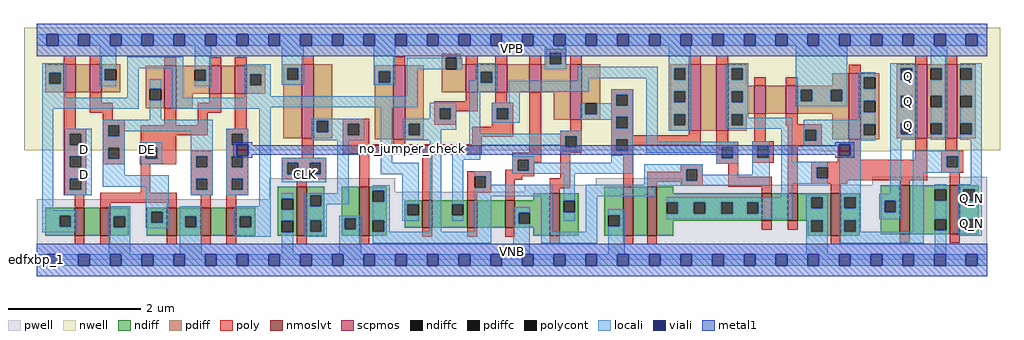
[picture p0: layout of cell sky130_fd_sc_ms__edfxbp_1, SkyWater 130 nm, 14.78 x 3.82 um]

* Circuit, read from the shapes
.subckt sky130_fd_sc_ms__edfxbp_1 CLK D DE VGND VNB VPB VPWR Q Q_N
XM1 n1 D n2 VNB sky130_fd_pr__nfet_01v8_lvt w=0.42 l=0.15
XM2 VGND DE n1 VNB sky130_fd_pr__nfet_01v8_lvt w=0.42 l=0.15
XM3 VGND DE n3 VNB sky130_fd_pr__nfet_01v8_lvt w=0.42 l=0.15
XM4 n4 n3 VGND VNB sky130_fd_pr__nfet_01v8_lvt w=0.42 l=0.15
XM5 n2 n5 n4 VNB sky130_fd_pr__nfet_01v8_lvt w=0.42 l=0.15
XM6 n6 CLK VGND VNB sky130_fd_pr__nfet_01v8_lvt w=0.74 l=0.15
XM7 n7 n6 VGND VNB sky130_fd_pr__nfet_01v8_lvt w=0.74 l=0.15
XM8 n8 n6 n2 VNB sky130_fd_pr__nfet_01v8_lvt w=0.42 l=0.15
XM9 n9 n7 n8 VNB sky130_fd_pr__nfet_01v8_lvt w=0.42 l=0.15
XM10 VGND n10 n9 VNB sky130_fd_pr__nfet_01v8_lvt w=0.42 l=0.15
XM11 n10 n8 VGND VNB sky130_fd_pr__nfet_01v8_lvt w=0.64 l=0.15
XM12 n11 n10 VGND VNB sky130_fd_pr__nfet_01v8_lvt w=0.74 l=0.15
XM13 n12 n7 n11 VNB sky130_fd_pr__nfet_01v8_lvt w=0.74 l=0.15
XM14 n13 n6 n12 VNB sky130_fd_pr__nfet_01v8_lvt w=0.42 l=0.15
XM15 VGND n5 n13 VNB sky130_fd_pr__nfet_01v8_lvt w=0.42 l=0.15
XM16 n5 n12 VGND VNB sky130_fd_pr__nfet_01v8_lvt w=0.64 l=0.15
XM17 VGND n12 Q VNB sky130_fd_pr__nfet_01v8_lvt w=0.74 l=0.15
XM18 Q_N n5 VGND VNB sky130_fd_pr__nfet_01v8_lvt w=0.74 l=0.15
XM19 n14 D n2 VPB sky130_fd_pr__pfet_01v8 w=0.42 l=0.18
XM20 VPWR n3 n14 VPB sky130_fd_pr__pfet_01v8 w=0.42 l=0.18
XM21 VPWR DE n3 VPB sky130_fd_pr__pfet_01v8 w=0.64 l=0.18
XM22 n15 DE VPWR VPB sky130_fd_pr__pfet_01v8 w=0.42 l=0.18
XM23 n2 n5 n15 VPB sky130_fd_pr__pfet_01v8 w=0.42 l=0.18
XM24 n6 CLK VPWR VPB sky130_fd_pr__pfet_01v8 w=1.12 l=0.18
XM25 n7 n6 VPWR VPB sky130_fd_pr__pfet_01v8 w=1.12 l=0.18
XM26 n8 n7 n2 VPB sky130_fd_pr__pfet_01v8 w=0.42 l=0.18
XM27 n16 n6 n8 VPB sky130_fd_pr__pfet_01v8 w=0.42 l=0.18
XM28 VPWR n10 n16 VPB sky130_fd_pr__pfet_01v8 w=0.42 l=0.18
XM29 n10 n8 VPWR VPB sky130_fd_pr__pfet_01v8 w=0.84 l=0.18
XM30 n17 n10 VPWR VPB sky130_fd_pr__pfet_01v8 w=1 l=0.18
XM31 n12 n6 n17 VPB sky130_fd_pr__pfet_01v8 w=1 l=0.18
XM32 n18 n7 n12 VPB sky130_fd_pr__pfet_01v8 w=0.42 l=0.18
XM33 VPWR n5 n18 VPB sky130_fd_pr__pfet_01v8 w=0.42 l=0.18
XM34 n5 n12 VPWR VPB sky130_fd_pr__pfet_01v8 w=1 l=0.18
XM35 VPWR n12 Q VPB sky130_fd_pr__pfet_01v8 w=1.12 l=0.18
XM36 Q_N n5 VPWR VPB sky130_fd_pr__pfet_01v8 w=1.12 l=0.18
.ends

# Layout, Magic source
magic
tech sky130A
magscale 1 2
<< nwell >>
rect -38 332 2918 704
rect 989 330 1209 332
rect 2374 329 2588 332
<< pwell >>
rect 705 207 1087 248
rect 1694 228 1955 248
rect 2531 228 2879 252
rect 1479 207 2879 228
rect 705 184 2879 207
rect 1 49 2879 184
rect 0 0 2880 49
<< scpmos >>
rect 83 508 119 592
rect 161 508 197 592
rect 387 460 423 588
rect 523 504 559 588
rect 601 504 637 588
rect 803 368 839 592
rect 1081 366 1117 590
rect 1300 508 1336 592
rect 1390 508 1426 592
rect 1492 508 1528 592
rect 1616 424 1652 592
rect 1975 392 2011 592
rect 2059 392 2095 592
rect 2173 443 2209 527
rect 2269 443 2305 527
rect 2460 365 2496 565
rect 2662 368 2698 592
rect 2752 368 2788 592
<< nmoslvt >>
rect 115 74 145 158
rect 193 74 223 158
rect 395 74 425 158
rect 497 74 527 158
rect 575 74 605 158
rect 788 74 818 222
rect 978 74 1008 222
rect 1168 97 1198 181
rect 1304 97 1334 181
rect 1419 97 1449 181
rect 1555 74 1585 202
rect 1777 74 1807 222
rect 1849 74 1879 222
rect 2197 118 2227 202
rect 2275 118 2305 202
rect 2406 74 2436 202
rect 2614 78 2644 226
rect 2766 78 2796 226
<< ndiff >>
rect 731 186 788 222
rect 27 134 115 158
rect 27 100 70 134
rect 104 100 115 134
rect 27 74 115 100
rect 145 74 193 158
rect 223 133 280 158
rect 223 99 234 133
rect 268 99 280 133
rect 223 74 280 99
rect 334 146 395 158
rect 334 112 348 146
rect 382 112 395 146
rect 334 74 395 112
rect 425 133 497 158
rect 425 99 450 133
rect 484 99 497 133
rect 425 74 497 99
rect 527 74 575 158
rect 605 133 662 158
rect 605 99 616 133
rect 650 99 662 133
rect 605 74 662 99
rect 731 152 743 186
rect 777 152 788 186
rect 731 118 788 152
rect 731 84 743 118
rect 777 84 788 118
rect 731 74 788 84
rect 818 196 871 222
rect 818 162 829 196
rect 863 162 871 196
rect 818 120 871 162
rect 818 86 829 120
rect 863 86 871 120
rect 818 74 871 86
rect 925 127 978 222
rect 925 93 933 127
rect 967 93 978 127
rect 925 74 978 93
rect 1008 210 1061 222
rect 1008 176 1019 210
rect 1053 176 1061 210
rect 1505 181 1555 202
rect 1008 120 1061 176
rect 1008 86 1019 120
rect 1053 86 1061 120
rect 1115 169 1168 181
rect 1115 135 1123 169
rect 1157 135 1168 169
rect 1115 97 1168 135
rect 1198 169 1304 181
rect 1198 135 1259 169
rect 1293 135 1304 169
rect 1198 97 1304 135
rect 1334 97 1419 181
rect 1449 143 1555 181
rect 1449 109 1460 143
rect 1494 109 1555 143
rect 1449 97 1555 109
rect 1008 74 1061 86
rect 1505 74 1555 97
rect 1585 179 1642 202
rect 1585 145 1596 179
rect 1630 145 1642 179
rect 1585 74 1642 145
rect 1720 136 1777 222
rect 1720 102 1732 136
rect 1766 102 1777 136
rect 1720 74 1777 102
rect 1807 74 1849 222
rect 1879 202 1929 222
rect 1879 174 2197 202
rect 1879 140 1908 174
rect 1942 140 1991 174
rect 2025 140 2074 174
rect 2108 140 2152 174
rect 2186 140 2197 174
rect 1879 118 2197 140
rect 2227 118 2275 202
rect 2305 190 2406 202
rect 2305 156 2347 190
rect 2381 156 2406 190
rect 2305 120 2406 156
rect 2305 118 2347 120
rect 1879 74 1929 118
rect 2335 86 2347 118
rect 2381 86 2406 120
rect 2335 74 2406 86
rect 2436 190 2493 202
rect 2436 156 2447 190
rect 2481 156 2493 190
rect 2436 120 2493 156
rect 2436 86 2447 120
rect 2481 86 2493 120
rect 2436 74 2493 86
rect 2557 179 2614 226
rect 2557 145 2569 179
rect 2603 145 2614 179
rect 2557 78 2614 145
rect 2644 214 2766 226
rect 2644 180 2721 214
rect 2755 180 2766 214
rect 2644 124 2766 180
rect 2644 90 2721 124
rect 2755 90 2766 124
rect 2644 78 2766 90
rect 2796 214 2853 226
rect 2796 180 2807 214
rect 2841 180 2853 214
rect 2796 124 2853 180
rect 2796 90 2807 124
rect 2841 90 2853 124
rect 2796 78 2853 90
<< pdiff >>
rect 1543 627 1601 639
rect 27 567 83 592
rect 27 533 39 567
rect 73 533 83 567
rect 27 508 83 533
rect 119 508 161 592
rect 197 578 253 592
rect 197 544 207 578
rect 241 544 253 578
rect 197 508 253 544
rect 331 518 387 588
rect 331 484 343 518
rect 377 484 387 518
rect 331 460 387 484
rect 423 576 523 588
rect 423 542 479 576
rect 513 542 523 576
rect 423 504 523 542
rect 559 504 601 588
rect 637 563 693 588
rect 637 529 647 563
rect 681 529 693 563
rect 637 504 693 529
rect 747 580 803 592
rect 747 546 759 580
rect 793 546 803 580
rect 423 460 473 504
rect 747 368 803 546
rect 839 421 895 592
rect 1227 612 1285 624
rect 1025 571 1081 590
rect 1025 537 1037 571
rect 1071 537 1081 571
rect 839 387 849 421
rect 883 387 895 421
rect 839 368 895 387
rect 1025 366 1081 537
rect 1117 412 1173 590
rect 1227 578 1239 612
rect 1273 592 1285 612
rect 1543 593 1555 627
rect 1589 593 1601 627
rect 1543 592 1601 593
rect 1273 578 1300 592
rect 1227 508 1300 578
rect 1336 570 1390 592
rect 1336 536 1346 570
rect 1380 536 1390 570
rect 1336 508 1390 536
rect 1426 508 1492 592
rect 1528 508 1616 592
rect 1117 378 1127 412
rect 1161 378 1173 412
rect 1117 366 1173 378
rect 1566 424 1616 508
rect 1652 475 1708 592
rect 1919 580 1975 592
rect 1919 546 1931 580
rect 1965 546 1975 580
rect 1652 441 1662 475
rect 1696 441 1708 475
rect 1652 424 1708 441
rect 1919 511 1975 546
rect 1919 477 1931 511
rect 1965 477 1975 511
rect 1919 442 1975 477
rect 1919 408 1931 442
rect 1965 408 1975 442
rect 1919 392 1975 408
rect 2011 392 2059 592
rect 2095 580 2151 592
rect 2095 546 2105 580
rect 2139 546 2151 580
rect 2606 580 2662 592
rect 2095 527 2151 546
rect 2410 527 2460 565
rect 2095 511 2173 527
rect 2095 477 2105 511
rect 2139 477 2173 511
rect 2095 443 2173 477
rect 2209 443 2269 527
rect 2305 515 2460 527
rect 2305 481 2315 515
rect 2349 481 2406 515
rect 2440 481 2460 515
rect 2305 443 2460 481
rect 2095 442 2151 443
rect 2095 408 2105 442
rect 2139 408 2151 442
rect 2095 392 2151 408
rect 2410 365 2460 443
rect 2496 553 2552 565
rect 2496 519 2506 553
rect 2540 519 2552 553
rect 2496 482 2552 519
rect 2496 448 2506 482
rect 2540 448 2552 482
rect 2496 411 2552 448
rect 2496 377 2506 411
rect 2540 377 2552 411
rect 2496 365 2552 377
rect 2606 546 2618 580
rect 2652 546 2662 580
rect 2606 497 2662 546
rect 2606 463 2618 497
rect 2652 463 2662 497
rect 2606 414 2662 463
rect 2606 380 2618 414
rect 2652 380 2662 414
rect 2606 368 2662 380
rect 2698 580 2752 592
rect 2698 546 2708 580
rect 2742 546 2752 580
rect 2698 497 2752 546
rect 2698 463 2708 497
rect 2742 463 2752 497
rect 2698 414 2752 463
rect 2698 380 2708 414
rect 2742 380 2752 414
rect 2698 368 2752 380
rect 2788 580 2844 592
rect 2788 546 2798 580
rect 2832 546 2844 580
rect 2788 497 2844 546
rect 2788 463 2798 497
rect 2832 463 2844 497
rect 2788 414 2844 463
rect 2788 380 2798 414
rect 2832 380 2844 414
rect 2788 368 2844 380
<< ndiffc >>
rect 70 100 104 134
rect 234 99 268 133
rect 348 112 382 146
rect 450 99 484 133
rect 616 99 650 133
rect 743 152 777 186
rect 743 84 777 118
rect 829 162 863 196
rect 829 86 863 120
rect 933 93 967 127
rect 1019 176 1053 210
rect 1019 86 1053 120
rect 1123 135 1157 169
rect 1259 135 1293 169
rect 1460 109 1494 143
rect 1596 145 1630 179
rect 1732 102 1766 136
rect 1908 140 1942 174
rect 1991 140 2025 174
rect 2074 140 2108 174
rect 2152 140 2186 174
rect 2347 156 2381 190
rect 2347 86 2381 120
rect 2447 156 2481 190
rect 2447 86 2481 120
rect 2569 145 2603 179
rect 2721 180 2755 214
rect 2721 90 2755 124
rect 2807 180 2841 214
rect 2807 90 2841 124
<< pdiffc >>
rect 39 533 73 567
rect 207 544 241 578
rect 343 484 377 518
rect 479 542 513 576
rect 647 529 681 563
rect 759 546 793 580
rect 1037 537 1071 571
rect 849 387 883 421
rect 1239 578 1273 612
rect 1555 593 1589 627
rect 1346 536 1380 570
rect 1127 378 1161 412
rect 1931 546 1965 580
rect 1662 441 1696 475
rect 1931 477 1965 511
rect 1931 408 1965 442
rect 2105 546 2139 580
rect 2105 477 2139 511
rect 2315 481 2349 515
rect 2406 481 2440 515
rect 2105 408 2139 442
rect 2506 519 2540 553
rect 2506 448 2540 482
rect 2506 377 2540 411
rect 2618 546 2652 580
rect 2618 463 2652 497
rect 2618 380 2652 414
rect 2708 546 2742 580
rect 2708 463 2742 497
rect 2708 380 2742 414
rect 2798 546 2832 580
rect 2798 463 2832 497
rect 2798 380 2832 414
<< poly >>
rect 83 592 119 618
rect 161 592 197 618
rect 387 588 423 614
rect 523 588 559 614
rect 601 588 637 614
rect 803 592 839 618
rect 83 398 119 508
rect 161 476 197 508
rect 161 446 231 476
rect 523 476 559 504
rect 201 424 231 446
rect 201 408 267 424
rect 387 408 423 460
rect 488 446 559 476
rect 488 408 518 446
rect 83 382 151 398
rect 83 348 101 382
rect 135 348 151 382
rect 83 314 151 348
rect 83 280 101 314
rect 135 280 151 314
rect 201 374 217 408
rect 251 374 267 408
rect 201 340 267 374
rect 201 306 217 340
rect 251 306 267 340
rect 201 290 267 306
rect 315 378 518 408
rect 601 398 637 504
rect 575 382 641 398
rect 315 340 423 378
rect 315 306 331 340
rect 365 306 423 340
rect 575 348 591 382
rect 625 348 641 382
rect 1081 590 1117 616
rect 927 412 1008 428
rect 927 378 943 412
rect 977 378 1008 412
rect 315 290 423 306
rect 467 314 533 330
rect 83 246 151 280
rect 83 212 101 246
rect 135 212 151 246
rect 83 196 151 212
rect 315 203 345 290
rect 467 280 483 314
rect 517 280 533 314
rect 467 246 533 280
rect 467 212 483 246
rect 517 212 533 246
rect 115 158 145 196
rect 193 173 425 203
rect 467 196 533 212
rect 575 314 641 348
rect 575 280 591 314
rect 625 280 641 314
rect 803 310 839 368
rect 927 351 1008 378
rect 1300 592 1336 618
rect 1390 592 1426 618
rect 1492 592 1528 618
rect 1616 592 1652 618
rect 1975 592 2011 618
rect 2059 592 2095 618
rect 2662 592 2698 618
rect 2752 592 2788 618
rect 1300 481 1336 508
rect 1205 460 1336 481
rect 1390 476 1426 508
rect 1205 426 1221 460
rect 1255 451 1336 460
rect 1378 460 1444 476
rect 1255 426 1271 451
rect 1205 410 1271 426
rect 1378 426 1394 460
rect 1428 426 1444 460
rect 1378 403 1444 426
rect 1319 373 1444 403
rect 1081 351 1117 366
rect 1319 351 1349 373
rect 927 321 1349 351
rect 1492 325 1528 508
rect 1740 501 1807 517
rect 1740 467 1756 501
rect 1790 467 1807 501
rect 1740 433 1807 467
rect 1616 391 1652 424
rect 575 246 641 280
rect 575 212 591 246
rect 625 212 641 246
rect 743 294 877 310
rect 743 260 759 294
rect 793 260 827 294
rect 861 260 877 294
rect 743 244 877 260
rect 788 222 818 244
rect 978 222 1008 321
rect 575 196 641 212
rect 193 158 223 173
rect 395 158 425 173
rect 497 158 527 196
rect 575 158 605 196
rect 1168 181 1198 321
rect 1441 304 1528 325
rect 1441 273 1457 304
rect 1419 270 1457 273
rect 1491 295 1528 304
rect 1586 375 1652 391
rect 1586 341 1602 375
rect 1636 341 1652 375
rect 1586 325 1652 341
rect 1740 399 1756 433
rect 1790 399 1807 433
rect 1740 377 1807 399
rect 2460 565 2496 591
rect 2173 527 2209 553
rect 2269 527 2305 553
rect 1975 377 2011 392
rect 1740 365 2011 377
rect 1740 331 1756 365
rect 1790 347 2011 365
rect 2059 358 2095 392
rect 2173 360 2209 443
rect 2269 411 2305 443
rect 2269 408 2378 411
rect 2275 395 2378 408
rect 2275 361 2328 395
rect 2362 361 2378 395
rect 1790 331 1807 347
rect 1491 270 1507 295
rect 1304 253 1377 269
rect 1304 219 1327 253
rect 1361 219 1377 253
rect 1304 203 1377 219
rect 1419 254 1507 270
rect 1419 243 1471 254
rect 1586 247 1616 325
rect 1740 315 1807 331
rect 1304 181 1334 203
rect 1419 181 1449 243
rect 1555 217 1616 247
rect 1777 222 1807 315
rect 2059 342 2125 358
rect 2059 308 2075 342
rect 2109 308 2125 342
rect 2059 292 2125 308
rect 2167 344 2233 360
rect 2167 310 2183 344
rect 2217 310 2233 344
rect 2167 294 2233 310
rect 2275 345 2378 361
rect 2460 349 2496 365
rect 1951 274 2017 290
rect 1951 267 1967 274
rect 1849 240 1967 267
rect 2001 240 2017 274
rect 1849 237 2017 240
rect 1849 222 1879 237
rect 1951 224 2017 237
rect 2095 252 2125 292
rect 2095 222 2227 252
rect 1555 202 1585 217
rect 115 48 145 74
rect 193 48 223 74
rect 395 48 425 74
rect 497 48 527 74
rect 575 48 605 74
rect 788 48 818 74
rect 978 48 1008 74
rect 1168 71 1198 97
rect 1304 71 1334 97
rect 1419 71 1449 97
rect 2197 202 2227 222
rect 2275 202 2305 345
rect 2426 303 2496 349
rect 2662 303 2698 368
rect 2752 330 2788 368
rect 2426 297 2698 303
rect 2347 281 2698 297
rect 2347 247 2363 281
rect 2397 247 2698 281
rect 2740 314 2806 330
rect 2740 280 2756 314
rect 2790 280 2806 314
rect 2740 264 2806 280
rect 2347 241 2698 247
rect 2347 231 2456 241
rect 2406 202 2436 231
rect 2614 226 2644 241
rect 2766 226 2796 264
rect 2197 92 2227 118
rect 2275 92 2305 118
rect 1555 48 1585 74
rect 1777 48 1807 74
rect 1849 48 1879 74
rect 2406 48 2436 74
rect 2614 52 2644 78
rect 2766 52 2796 78
<< polycont >>
rect 101 348 135 382
rect 101 280 135 314
rect 217 374 251 408
rect 217 306 251 340
rect 331 306 365 340
rect 591 348 625 382
rect 943 378 977 412
rect 101 212 135 246
rect 483 280 517 314
rect 483 212 517 246
rect 591 280 625 314
rect 1221 426 1255 460
rect 1394 426 1428 460
rect 1756 467 1790 501
rect 591 212 625 246
rect 759 260 793 294
rect 827 260 861 294
rect 1457 270 1491 304
rect 1602 341 1636 375
rect 1756 399 1790 433
rect 1756 331 1790 365
rect 2328 361 2362 395
rect 1327 219 1361 253
rect 2075 308 2109 342
rect 2183 310 2217 344
rect 1967 240 2001 274
rect 2363 247 2397 281
rect 2756 280 2790 314
<< locali >>
rect 0 649 31 683
rect 65 649 127 683
rect 161 649 223 683
rect 257 649 319 683
rect 353 649 415 683
rect 449 649 511 683
rect 545 649 607 683
rect 641 649 703 683
rect 737 649 799 683
rect 833 649 895 683
rect 929 649 991 683
rect 1025 649 1087 683
rect 1121 649 1183 683
rect 1217 649 1279 683
rect 1313 649 1375 683
rect 1409 649 1471 683
rect 1505 649 1567 683
rect 1601 649 1663 683
rect 1697 649 1759 683
rect 1793 649 1855 683
rect 1889 649 1951 683
rect 1985 649 2047 683
rect 2081 649 2143 683
rect 2177 649 2239 683
rect 2273 649 2335 683
rect 2369 649 2431 683
rect 2465 649 2527 683
rect 2561 649 2623 683
rect 2657 649 2719 683
rect 2753 649 2815 683
rect 2849 649 2880 683
rect 17 567 89 596
rect 17 533 39 567
rect 73 533 89 567
rect 17 492 89 533
rect 191 578 241 649
rect 191 544 207 578
rect 191 526 241 544
rect 275 581 445 615
rect 275 492 309 581
rect 17 458 309 492
rect 343 518 377 547
rect 17 150 51 458
rect 343 424 377 484
rect 411 492 445 581
rect 479 576 529 649
rect 513 542 529 576
rect 479 526 529 542
rect 631 563 709 592
rect 631 529 647 563
rect 681 529 709 563
rect 743 580 809 649
rect 743 546 759 580
rect 793 546 809 580
rect 743 530 809 546
rect 1021 571 1087 649
rect 1539 627 1605 649
rect 1021 537 1037 571
rect 1071 537 1087 571
rect 1021 530 1087 537
rect 1121 578 1239 612
rect 1273 578 1289 612
rect 631 496 709 529
rect 1121 496 1155 578
rect 1330 570 1396 596
rect 1539 593 1555 627
rect 1589 593 1605 627
rect 1539 577 1605 593
rect 1330 544 1346 570
rect 631 492 1155 496
rect 411 462 1155 492
rect 1310 536 1346 544
rect 1380 536 1396 570
rect 1639 551 1881 585
rect 1639 543 1673 551
rect 1310 510 1396 536
rect 411 458 709 462
rect 201 408 533 424
rect 85 382 167 398
rect 85 348 101 382
rect 135 348 167 382
rect 85 314 167 348
rect 85 280 101 314
rect 135 280 167 314
rect 85 246 167 280
rect 85 212 101 246
rect 135 212 167 246
rect 201 374 217 408
rect 251 390 533 408
rect 251 374 267 390
rect 201 340 267 374
rect 201 306 217 340
rect 251 306 267 340
rect 201 256 267 306
rect 313 340 381 356
rect 313 306 331 340
rect 365 306 381 340
rect 313 290 381 306
rect 467 314 533 390
rect 467 280 483 314
rect 517 280 533 314
rect 201 222 400 256
rect 85 196 167 212
rect 17 134 120 150
rect 17 100 70 134
rect 104 100 120 134
rect 17 84 120 100
rect 218 133 284 162
rect 218 99 234 133
rect 268 99 284 133
rect 218 17 284 99
rect 330 146 400 222
rect 467 246 533 280
rect 467 212 483 246
rect 517 212 533 246
rect 467 196 533 212
rect 575 382 641 398
rect 575 348 591 382
rect 625 350 641 382
rect 575 316 607 348
rect 575 314 641 316
rect 575 280 591 314
rect 625 280 641 314
rect 575 246 641 280
rect 575 212 591 246
rect 625 212 641 246
rect 575 196 641 212
rect 675 162 709 458
rect 833 421 993 428
rect 833 387 849 421
rect 883 412 993 421
rect 883 387 943 412
rect 833 378 943 387
rect 977 378 993 412
rect 833 362 993 378
rect 743 294 877 310
rect 743 260 759 294
rect 793 260 827 294
rect 861 260 877 294
rect 743 236 877 260
rect 911 202 945 362
rect 1043 294 1077 462
rect 1191 460 1271 476
rect 1191 428 1221 460
rect 1111 426 1221 428
rect 1255 426 1271 460
rect 1111 412 1271 426
rect 1111 378 1127 412
rect 1161 394 1271 412
rect 1161 378 1225 394
rect 1111 362 1225 378
rect 1043 260 1157 294
rect 330 112 348 146
rect 382 112 400 146
rect 330 96 400 112
rect 434 133 500 162
rect 434 99 450 133
rect 484 99 500 133
rect 434 17 500 99
rect 600 133 709 162
rect 600 99 616 133
rect 650 99 709 133
rect 600 70 709 99
rect 743 186 777 202
rect 743 118 777 152
rect 743 17 777 84
rect 813 196 945 202
rect 813 162 829 196
rect 863 168 945 196
rect 1019 210 1069 226
rect 1053 176 1069 210
rect 863 162 879 168
rect 813 120 879 162
rect 813 86 829 120
rect 863 86 879 120
rect 813 70 879 86
rect 917 127 983 134
rect 917 93 933 127
rect 967 93 983 127
rect 917 17 983 93
rect 1019 120 1069 176
rect 1053 86 1069 120
rect 1107 169 1157 260
rect 1107 135 1123 169
rect 1107 119 1157 135
rect 1019 85 1069 86
rect 1191 85 1225 362
rect 1310 382 1344 510
rect 1430 509 1673 543
rect 1430 476 1464 509
rect 1378 460 1464 476
rect 1740 501 1806 517
rect 1740 475 1756 501
rect 1378 426 1394 460
rect 1428 426 1464 460
rect 1378 416 1464 426
rect 1646 441 1662 475
rect 1696 467 1756 475
rect 1790 467 1806 501
rect 1696 441 1806 467
rect 1646 433 1806 441
rect 1646 425 1756 433
rect 1740 399 1756 425
rect 1790 399 1806 433
rect 1586 382 1652 391
rect 1310 375 1652 382
rect 1310 348 1602 375
rect 1310 337 1344 348
rect 1259 303 1344 337
rect 1586 341 1602 348
rect 1636 341 1652 375
rect 1586 329 1652 341
rect 1740 365 1806 399
rect 1740 331 1756 365
rect 1790 331 1806 365
rect 1441 304 1507 314
rect 1259 169 1293 303
rect 1441 270 1457 304
rect 1491 295 1507 304
rect 1740 295 1806 331
rect 1847 358 1881 551
rect 1915 580 1981 649
rect 1915 546 1931 580
rect 1965 546 1981 580
rect 1915 511 1981 546
rect 1915 477 1931 511
rect 1965 477 1981 511
rect 1915 442 1981 477
rect 1915 408 1931 442
rect 1965 408 1981 442
rect 1915 392 1981 408
rect 2089 580 2155 596
rect 2089 546 2105 580
rect 2139 546 2155 580
rect 2089 511 2155 546
rect 2089 477 2105 511
rect 2139 477 2155 511
rect 2089 442 2155 477
rect 2299 515 2456 649
rect 2585 580 2668 596
rect 2299 481 2315 515
rect 2349 481 2406 515
rect 2440 481 2456 515
rect 2299 465 2456 481
rect 2490 553 2540 569
rect 2490 519 2506 553
rect 2490 482 2540 519
rect 2089 408 2105 442
rect 2139 431 2155 442
rect 2490 448 2506 482
rect 2139 408 2289 431
rect 2490 424 2540 448
rect 2089 397 2289 408
rect 1847 342 2125 358
rect 1847 324 2075 342
rect 1491 270 1806 295
rect 2059 308 2075 324
rect 2109 308 2125 342
rect 2059 292 2125 308
rect 2167 344 2221 360
rect 2167 310 2183 344
rect 2217 310 2221 344
rect 1259 119 1293 135
rect 1327 253 1377 269
rect 1441 261 1806 270
rect 1840 274 2017 290
rect 1361 227 1377 253
rect 1361 219 1562 227
rect 1327 193 1562 219
rect 1327 85 1377 193
rect 1019 51 1377 85
rect 1444 143 1494 159
rect 1444 109 1460 143
rect 1444 17 1494 109
rect 1528 85 1562 193
rect 1596 179 1630 261
rect 1840 240 1967 274
rect 2001 258 2017 274
rect 2167 258 2221 310
rect 2001 240 2221 258
rect 1840 227 2221 240
rect 1596 119 1630 145
rect 1664 224 2221 227
rect 2255 297 2289 397
rect 2323 411 2540 424
rect 2323 395 2506 411
rect 2323 361 2328 395
rect 2362 377 2506 395
rect 2362 361 2540 377
rect 2585 546 2618 580
rect 2652 546 2668 580
rect 2585 497 2668 546
rect 2585 463 2618 497
rect 2652 463 2668 497
rect 2585 414 2668 463
rect 2585 380 2618 414
rect 2652 380 2668 414
rect 2585 364 2668 380
rect 2708 580 2758 649
rect 2742 546 2758 580
rect 2708 497 2758 546
rect 2742 463 2758 497
rect 2708 414 2758 463
rect 2742 380 2758 414
rect 2708 364 2758 380
rect 2798 580 2863 596
rect 2832 546 2863 580
rect 2798 497 2863 546
rect 2832 463 2863 497
rect 2798 414 2863 463
rect 2832 380 2863 414
rect 2798 364 2863 380
rect 2323 350 2497 361
rect 2323 345 2431 350
rect 2465 316 2497 350
rect 2255 281 2397 297
rect 2255 247 2363 281
rect 2255 231 2397 247
rect 1664 193 1874 224
rect 1664 85 1698 193
rect 2255 190 2289 231
rect 1908 174 2289 190
rect 1528 51 1698 85
rect 1732 136 1782 154
rect 1766 102 1782 136
rect 1942 140 1991 174
rect 2025 140 2074 174
rect 2108 140 2152 174
rect 2186 140 2289 174
rect 1908 124 2289 140
rect 2331 190 2397 197
rect 2331 156 2347 190
rect 2381 156 2397 190
rect 1732 17 1782 102
rect 2331 120 2397 156
rect 2331 86 2347 120
rect 2381 86 2397 120
rect 2331 17 2397 86
rect 2431 190 2497 316
rect 2585 200 2619 364
rect 2431 156 2447 190
rect 2481 156 2497 190
rect 2431 120 2497 156
rect 2553 179 2619 200
rect 2553 145 2569 179
rect 2603 145 2619 179
rect 2553 124 2619 145
rect 2653 314 2795 330
rect 2653 280 2756 314
rect 2790 280 2795 314
rect 2653 264 2795 280
rect 2431 86 2447 120
rect 2481 86 2497 120
rect 2431 85 2497 86
rect 2653 85 2687 264
rect 2829 230 2863 364
rect 2431 51 2687 85
rect 2721 214 2755 230
rect 2721 124 2755 180
rect 2721 17 2755 90
rect 2791 214 2863 230
rect 2791 180 2807 214
rect 2841 180 2863 214
rect 2791 124 2863 180
rect 2791 90 2807 124
rect 2841 90 2863 124
rect 2791 74 2863 90
rect 0 -17 31 17
rect 65 -17 127 17
rect 161 -17 223 17
rect 257 -17 319 17
rect 353 -17 415 17
rect 449 -17 511 17
rect 545 -17 607 17
rect 641 -17 703 17
rect 737 -17 799 17
rect 833 -17 895 17
rect 929 -17 991 17
rect 1025 -17 1087 17
rect 1121 -17 1183 17
rect 1217 -17 1279 17
rect 1313 -17 1375 17
rect 1409 -17 1471 17
rect 1505 -17 1567 17
rect 1601 -17 1663 17
rect 1697 -17 1759 17
rect 1793 -17 1855 17
rect 1889 -17 1951 17
rect 1985 -17 2047 17
rect 2081 -17 2143 17
rect 2177 -17 2239 17
rect 2273 -17 2335 17
rect 2369 -17 2431 17
rect 2465 -17 2527 17
rect 2561 -17 2623 17
rect 2657 -17 2719 17
rect 2753 -17 2815 17
rect 2849 -17 2880 17
<< viali >>
rect 31 649 65 683
rect 127 649 161 683
rect 223 649 257 683
rect 319 649 353 683
rect 415 649 449 683
rect 511 649 545 683
rect 607 649 641 683
rect 703 649 737 683
rect 799 649 833 683
rect 895 649 929 683
rect 991 649 1025 683
rect 1087 649 1121 683
rect 1183 649 1217 683
rect 1279 649 1313 683
rect 1375 649 1409 683
rect 1471 649 1505 683
rect 1567 649 1601 683
rect 1663 649 1697 683
rect 1759 649 1793 683
rect 1855 649 1889 683
rect 1951 649 1985 683
rect 2047 649 2081 683
rect 2143 649 2177 683
rect 2239 649 2273 683
rect 2335 649 2369 683
rect 2431 649 2465 683
rect 2527 649 2561 683
rect 2623 649 2657 683
rect 2719 649 2753 683
rect 2815 649 2849 683
rect 607 348 625 350
rect 625 348 641 350
rect 607 316 641 348
rect 2431 316 2465 350
rect 31 -17 65 17
rect 127 -17 161 17
rect 223 -17 257 17
rect 319 -17 353 17
rect 415 -17 449 17
rect 511 -17 545 17
rect 607 -17 641 17
rect 703 -17 737 17
rect 799 -17 833 17
rect 895 -17 929 17
rect 991 -17 1025 17
rect 1087 -17 1121 17
rect 1183 -17 1217 17
rect 1279 -17 1313 17
rect 1375 -17 1409 17
rect 1471 -17 1505 17
rect 1567 -17 1601 17
rect 1663 -17 1697 17
rect 1759 -17 1793 17
rect 1855 -17 1889 17
rect 1951 -17 1985 17
rect 2047 -17 2081 17
rect 2143 -17 2177 17
rect 2239 -17 2273 17
rect 2335 -17 2369 17
rect 2431 -17 2465 17
rect 2527 -17 2561 17
rect 2623 -17 2657 17
rect 2719 -17 2753 17
rect 2815 -17 2849 17
<< metal1 >>
rect 0 683 2880 715
rect 0 649 31 683
rect 65 649 127 683
rect 161 649 223 683
rect 257 649 319 683
rect 353 649 415 683
rect 449 649 511 683
rect 545 649 607 683
rect 641 649 703 683
rect 737 649 799 683
rect 833 649 895 683
rect 929 649 991 683
rect 1025 649 1087 683
rect 1121 649 1183 683
rect 1217 649 1279 683
rect 1313 649 1375 683
rect 1409 649 1471 683
rect 1505 649 1567 683
rect 1601 649 1663 683
rect 1697 649 1759 683
rect 1793 649 1855 683
rect 1889 649 1951 683
rect 1985 649 2047 683
rect 2081 649 2143 683
rect 2177 649 2239 683
rect 2273 649 2335 683
rect 2369 649 2431 683
rect 2465 649 2527 683
rect 2561 649 2623 683
rect 2657 649 2719 683
rect 2753 649 2815 683
rect 2849 649 2880 683
rect 0 617 2880 649
rect 595 350 653 356
rect 595 316 607 350
rect 641 347 653 350
rect 2419 350 2477 356
rect 2419 347 2431 350
rect 641 319 2431 347
rect 641 316 653 319
rect 595 310 653 316
rect 2419 316 2431 319
rect 2465 316 2477 350
rect 2419 310 2477 316
rect 0 17 2880 49
rect 0 -17 31 17
rect 65 -17 127 17
rect 161 -17 223 17
rect 257 -17 319 17
rect 353 -17 415 17
rect 449 -17 511 17
rect 545 -17 607 17
rect 641 -17 703 17
rect 737 -17 799 17
rect 833 -17 895 17
rect 929 -17 991 17
rect 1025 -17 1087 17
rect 1121 -17 1183 17
rect 1217 -17 1279 17
rect 1313 -17 1375 17
rect 1409 -17 1471 17
rect 1505 -17 1567 17
rect 1601 -17 1663 17
rect 1697 -17 1759 17
rect 1793 -17 1855 17
rect 1889 -17 1951 17
rect 1985 -17 2047 17
rect 2081 -17 2143 17
rect 2177 -17 2239 17
rect 2273 -17 2335 17
rect 2369 -17 2431 17
rect 2465 -17 2527 17
rect 2561 -17 2623 17
rect 2657 -17 2719 17
rect 2753 -17 2815 17
rect 2849 -17 2880 17
rect 0 -49 2880 -17
<< labels >>
flabel pwell s 0 0 2880 49 0 FreeSans 200 0 0 0 VNB
port 5 nsew ground bidirectional
flabel nwell s 0 617 2880 666 0 FreeSans 200 0 0 0 VPB
port 6 nsew power bidirectional
rlabel comment s 0 0 0 0 4 edfxbp_1
flabel comment s 1139 337 1139 337 0 FreeSans 200 0 0 0 no_jumper_check
flabel metal1 s 0 617 2880 666 0 FreeSans 340 0 0 0 VPWR
port 7 nsew power bidirectional
flabel metal1 s 0 0 2880 49 0 FreeSans 340 0 0 0 VGND
port 4 nsew ground bidirectional
flabel locali s 799 242 833 276 0 FreeSans 340 0 0 0 CLK
port 1 nsew clock input
flabel locali s 2623 390 2657 424 0 FreeSans 340 0 0 0 Q
port 8 nsew signal output
flabel locali s 2623 464 2657 498 0 FreeSans 340 0 0 0 Q
port 8 nsew signal output
flabel locali s 2623 538 2657 572 0 FreeSans 340 0 0 0 Q
port 8 nsew signal output
flabel locali s 127 242 161 276 0 FreeSans 340 0 0 0 D
port 2 nsew signal input
flabel locali s 127 316 161 350 0 FreeSans 340 0 0 0 D
port 2 nsew signal input
flabel locali s 319 316 353 350 0 FreeSans 340 0 0 0 DE
port 3 nsew signal input
flabel locali s 2815 94 2849 128 0 FreeSans 340 0 0 0 Q_N
port 9 nsew signal output
flabel locali s 2815 168 2849 202 0 FreeSans 340 0 0 0 Q_N
port 9 nsew signal output
<< properties >>
string LEFsite unit
string LEFclass CORE
string FIXED_BBOX 0 0 2880 666
string GDS_FILE $PDKPATH/libs.ref/sky130_fd_sc_ms/gds/sky130_fd_sc_ms.gds
string LEFsymmetry X Y
string GDS_END 1857754
string GDS_START 1837932
<< end >>
